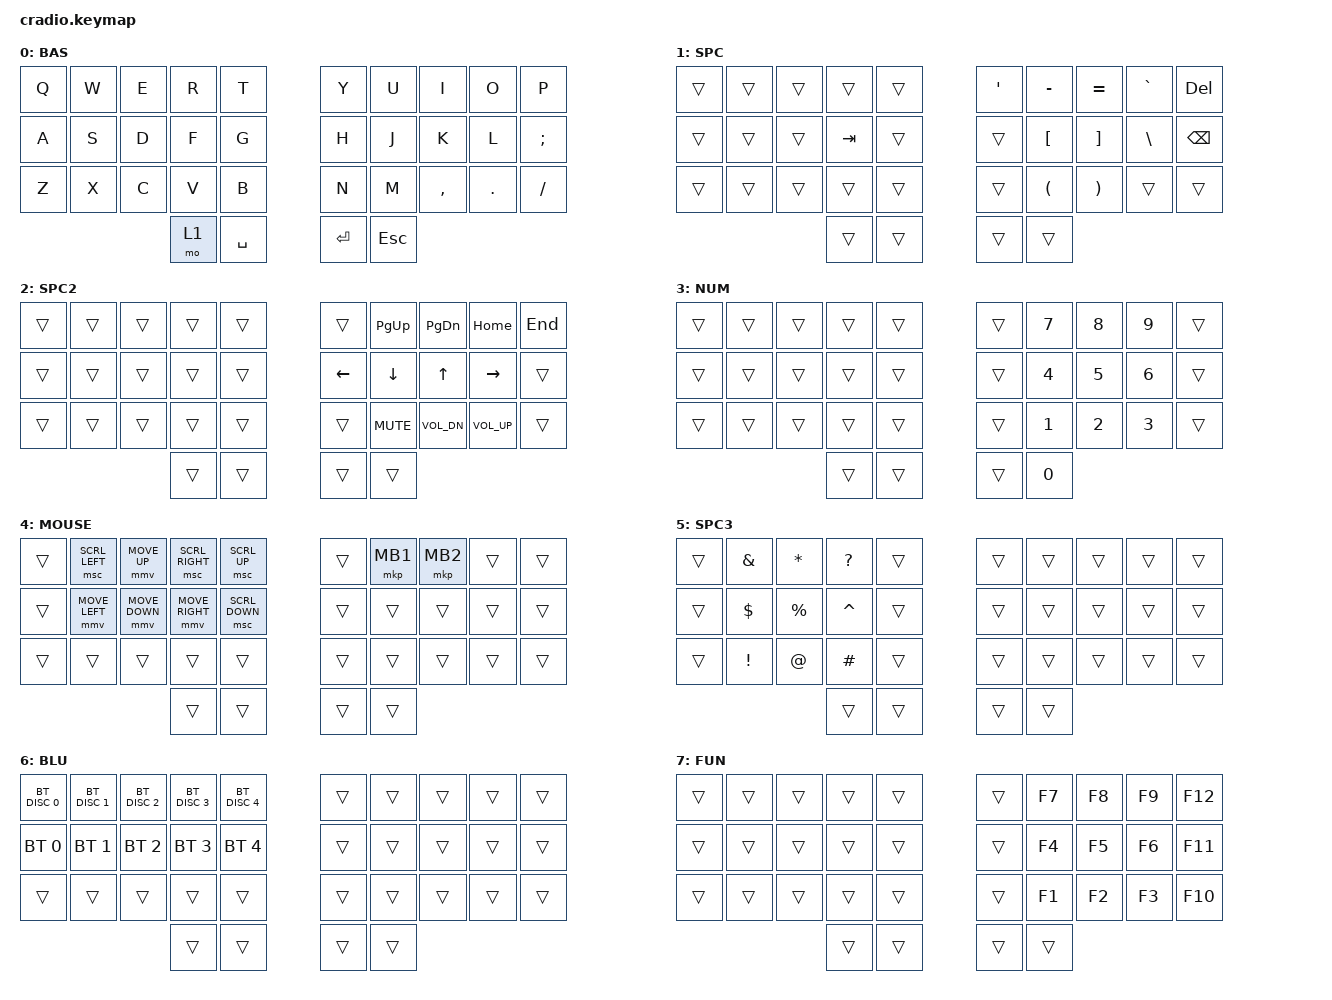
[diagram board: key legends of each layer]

/*
 * Ferris Half Swept - ZMK Keymap
 * Converted from the existing Corne keymap.
 *
 * 34 keys:
 *   5 + 5
 *   5 + 5
 *   5 + 5
 *   2 + 2 thumb keys
 *
 * SPDX-License-Identifier: MIT
 */

#include <behaviors.dtsi>
#include <dt-bindings/zmk/keys.h>
#include <dt-bindings/zmk/bt.h>
#include <dt-bindings/zmk/outputs.h>
#include <dt-bindings/zmk/ext_power.h>
#include <dt-bindings/zmk/reset.h>
#include <dt-bindings/zmk/pointing.h>

/* Mouse movement settings */
&mmv {
    x-input-code = <INPUT_REL_X>;
    y-input-code = <INPUT_REL_Y>;
    delay-ms = <0>;
    time-to-max-speed-ms = <150>;
    acceleration-exponent = <1>;
    trigger-period-ms = <8>;
};

/* Mouse scroll settings */
&msc {
    x-input-code = <INPUT_REL_HWHEEL>;
    y-input-code = <INPUT_REL_WHEEL>;
    delay-ms = <0>;
    time-to-max-speed-ms = <120>;
    acceleration-exponent = <1>;
    trigger-period-ms = <8>;
};

/ {
    keymap {
        compatible = "zmk,keymap";

        /* Layer #0 */
        default_layer {
            display-name = "BAS";

            // ---------------------------------------------
            // | Q | W | E | R | T | | Y | U | I | O | P |
            // | A | S | D | F | G | | H | J | K | L | ; |
            // | Z | X | C | V | B | | N | M | , | . | / |
            //          | M1 | SPC | | ENT | ESC |
            // ---------------------------------------------

            bindings = <
                &kp Q  &kp W  &kp E      &kp R    &kp T       &kp Y  &kp U  &kp I      &kp O    &kp P
                &kp A  &kp S  &kp D      &kp F    &kp G       &kp H  &kp J  &kp K      &kp L    &kp SEMI
                &kp Z  &kp X  &kp C      &kp V    &kp B       &kp N  &kp M  &kp COMMA  &kp DOT  &kp FSLH
                                      &mo 1  &kp SPACE    &kp RET  &kp ESC
            >;
        };

        /* Layer #1 */
        special_1 {
            display-name = "SPC";

            // ---------------------------------------------
            // |   |   |   |   |   | | ' | - | = | ` | DEL |
            // |   |   |   | TAB | | |   | [ | ] | \ | BKSP|
            // |   |   |   |   |   | |   | ( | ) |   |    |
            //          |   |   | |   |   |
            // ---------------------------------------------

            bindings = <
                &trans  &trans  &trans  &trans   &trans      &kp SQT  &kp MINUS  &kp EQUAL  &kp GRAVE  &kp DEL
                &trans  &trans  &trans  &kp TAB  &trans      &trans   &kp LBKT   &kp RBKT   &kp BSLH   &kp BSPC
                &trans  &trans  &trans  &trans   &trans      &trans   &kp LPAR   &kp RPAR   &trans     &trans
                                      &trans  &trans      &trans   &trans
            >;
        };

        /* Layer #2 */
        special_2 {
            display-name = "SPC2";

            // ---------------------------------------------
            // |   |   |   |   |   | |   | PGUP | PGDN | HOME | END |
            // |   |   |   |   |   | | LEFT | DOWN | UP | RIGHT |   |
            // |   |   |   |   |   | |   | MUTE | VOL- | VOL+ |   |
            //          |   |   | |   |   |
            // ---------------------------------------------

            bindings = <
                &trans  &trans  &trans  &trans  &trans      &trans     &kp PG_UP  &kp PG_DN    &kp HOME      &kp END
                &trans  &trans  &trans  &trans  &trans      &kp LEFT   &kp DOWN   &kp UP       &kp RIGHT     &trans
                &trans  &trans  &trans  &trans  &trans      &trans     &kp C_MUTE &kp C_VOL_DN &kp C_VOL_UP  &trans
                                     &trans  &trans      &trans     &trans
            >;
        };

        /* Layer #3 */
        number {
            display-name = "NUM";

            // ---------------------------------------------
            // |   |   |   |   |   | |   | 7 | 8 | 9 |   |
            // |   |   |   |   |   | |   | 4 | 5 | 6 |   |
            // |   |   |   |   |   | |   | 1 | 2 | 3 |   |
            //          |   |   | |   | 0 |
            // ---------------------------------------------

            bindings = <
                &trans  &trans  &trans  &trans  &trans      &trans  &kp N7  &kp N8  &kp N9  &trans
                &trans  &trans  &trans  &trans  &trans      &trans  &kp N4  &kp N5  &kp N6  &trans
                &trans  &trans  &trans  &trans  &trans      &trans  &kp N1  &kp N2  &kp N3  &trans
                                     &trans  &trans      &trans  &kp N0
            >;
        };

        /* Layer #4 */
        mouse {
            display-name = "MOUSE";

            // ---------------------------------------------
            // |   | WL | MU | WR | WU | | MB1 | MB2 |   |   |   |
            // |   | ML | MD | MR | WD | |     |     |   |   |   |
            // |   |    |    |    |    | |     |     |   |   |   |
            //          |    |    | |     |     |
            // ---------------------------------------------

            bindings = <
                &trans  &msc SCRL_LEFT  &mmv MOVE_UP    &msc SCRL_RIGHT  &msc SCRL_UP    &trans    &mkp MB1  &mkp MB2  &trans  &trans
                &trans  &mmv MOVE_LEFT  &mmv MOVE_DOWN  &mmv MOVE_RIGHT  &msc SCRL_DOWN  &trans    &trans    &trans  &trans  &trans
                &trans  &trans          &trans          &trans           &trans          &trans    &trans    &trans  &trans  &trans
                                                         &trans  &trans                  &trans    &trans
            >;
        };

        /* Layer #5 */
        special_3 {
            display-name = "SPC3";

            // ---------------------------------------------
            // |   | & | * | ? |   | |   |   |   |   |   |
            // |   | $ | % | ^ |   | |   |   |   |   |   |
            // |   | ! | @ | # |   | |   |   |   |   |   |
            //          |   |   | |   |   |
            // ---------------------------------------------

            bindings = <
                &trans  &kp AMPS  &kp ASTRK  &kp QMARK  &trans      &trans  &trans  &trans  &trans  &trans
                &trans  &kp DLLR  &kp PRCNT  &kp CARET  &trans      &trans  &trans  &trans  &trans  &trans
                &trans  &kp EXCL  &kp AT     &kp HASH   &trans      &trans  &trans  &trans  &trans  &trans
                                            &trans  &trans         &trans  &trans
            >;
        };

        /* Layer #6 */
        bluetooth {
            display-name = "BLU";

            // ---------------------------------------------
            // | DISC ALL | DISC1 | DISC2 | DISC3 | DISC4 |
            // |          |       |       |       |       |
            // | CLR      | BT1   | BT2   | BT3   | BT4   |
            // |          |       |       |       |       |
            // ---------------------------------------------

            bindings = <
                &bt BT_DISC 0  &bt BT_DISC 1  &bt BT_DISC 2  &bt BT_DISC 3  &bt BT_DISC 4      &trans  &trans  &trans  &trans  &trans
                &bt BT_SEL 0   &bt BT_SEL 1   &bt BT_SEL 2   &bt BT_SEL 3   &bt BT_SEL 4       &trans  &trans  &trans  &trans  &trans
                &trans        &trans        &trans        &trans        &trans             &trans  &trans  &trans  &trans  &trans
                                                          &trans  &trans                    &trans  &trans
            >;
        };

        /* Layer #7 */
        functions {
            display-name = "FUN";

            // ---------------------------------------------
            // |   |   |   |   |   | |   | F7 | F8 | F9 | F12 |
            // |   |   |   |   |   | |   | F4 | F5 | F6 | F11 |
            // |   |   |   |   |   | |   | F1 | F2 | F3 | F10 |
            //          |   |   | |   |   |
            // ---------------------------------------------

            bindings = <
                &trans  &trans  &trans  &trans  &trans      &trans  &kp F7  &kp F8  &kp F9  &kp F12
                &trans  &trans  &trans  &trans  &trans      &trans  &kp F4  &kp F5  &kp F6  &kp F11
                &trans  &trans  &trans  &trans  &trans      &trans  &kp F1  &kp F2  &kp F3  &kp F10
                                     &trans  &trans      &trans  &trans
            >;
        };

        extra_1 {
            status = "reserved";
        };

        extra_2 {
            status = "reserved";
        };

        extra_3 {
            status = "reserved";
        };
    };

    /*
     * Ferris Half Swept key positions
     *
     *  0   1   2   3   4  |   5   6   7   8   9
     * 10  11  12  13  14  |  15  16  17  18  19
     * 20  21  22  23  24  |  25  26  27  28  29
     *             30  31  |  32  33
     */

    combos {
        compatible = "zmk,combos";

        /* Home Row Modifier - Left */

        hr_left_gui {
            timeout-ms = <50>;
            key-positions = <10 13>;
            bindings = <&kp LGUI>;
            slow-release;
        };

        hr_left_shift {
            timeout-ms = <50>;
            key-positions = <11 12>;
            bindings = <&kp LSHFT>;
            slow-release;
        };

        hr_left_alt {
            timeout-ms = <50>;
            key-positions = <11 13>;
            bindings = <&kp LALT>;
            slow-release;
        };

        hr_left_ctrl {
            timeout-ms = <50>;
            key-positions = <12 13>;
            bindings = <&kp LCTRL>;
            slow-release;
        };

        /* Home Row Modifier - Right */

        hr_right_gui {
            timeout-ms = <50>;
            key-positions = <16 19>;
            bindings = <&kp LGUI>;
            slow-release;
        };

        hr_right_shift {
            timeout-ms = <50>;
            key-positions = <17 18>;
            bindings = <&kp LSHFT>;
            slow-release;
        };

        hr_right_alt {
            timeout-ms = <50>;
            key-positions = <16 18>;
            bindings = <&kp LALT>;
            slow-release;
        };

        hr_right_ctrl {
            timeout-ms = <50>;
            key-positions = <16 17>;
            bindings = <&kp LCTRL>;
            slow-release;
        };

        /* Layer activation combos */

        mod_bluetooth {
            timeout-ms = <50>;
            key-positions = <9 16>;
            bindings = <&mo 6>;
            slow-release;
        };

        mod_mouse {
            timeout-ms = <50>;
            key-positions = <8 16>;
            bindings = <&mo 4>;
            slow-release;
        };

        mod_special {
            timeout-ms = <50>;
            key-positions = <7 16>;
            bindings = <&mo 5>;
            slow-release;
        };

        mod_functions {
            timeout-ms = <50>;
            key-positions = <0 13>;
            bindings = <&mo 7>;
            slow-release;
        };

        mod_number {
            timeout-ms = <50>;
            key-positions = <1 13>;
            bindings = <&mo 3>;
            slow-release;
        };

        mod_spc {
            timeout-ms = <50>;
            key-positions = <2 13>;
            bindings = <&mo 2>;
            slow-release;
        };
    };
};
